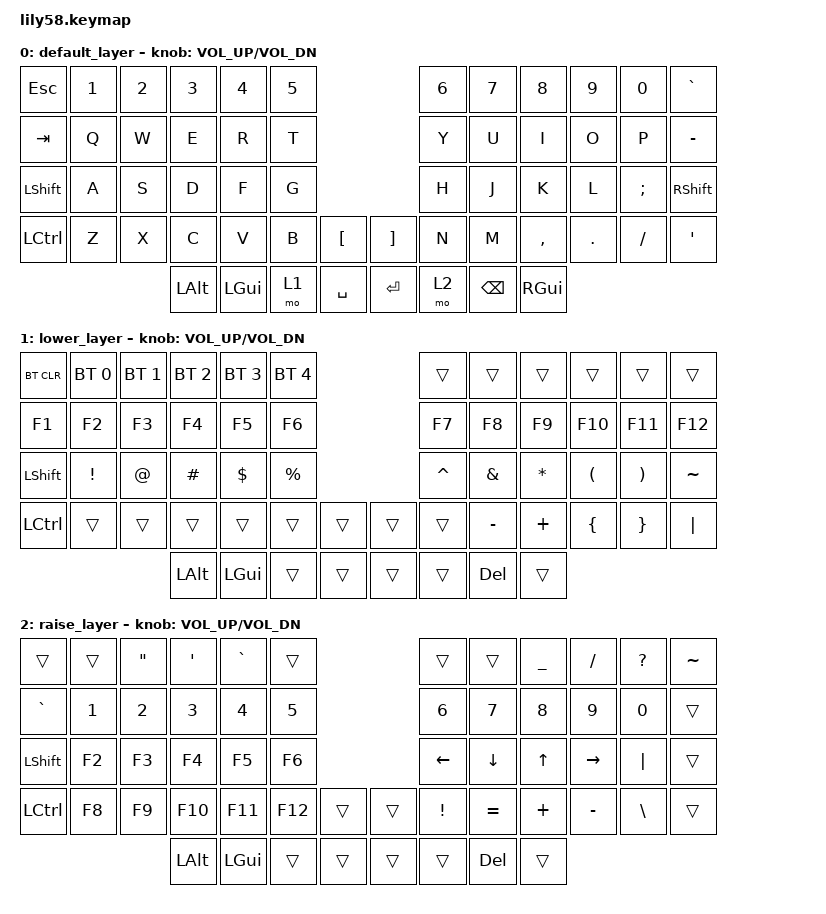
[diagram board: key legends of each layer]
/*
 * Copyright (c) 2020 The ZMK Contributors
 *
 * SPDX-License-Identifier: MIT
 */

#include <behaviors.dtsi>
#include <dt-bindings/zmk/bt.h>
#include <dt-bindings/zmk/keys.h>

/ {
    keymap {
        compatible = "zmk,keymap";

        default_layer {
            // ------------------------------------------------------------------------------------------------------------
            // |  ESC  |  1  |  2  |  3   |  4   |  5   |                   |  6   |  7    |  8    |  9   |   0   |   `   |
            // |  TAB  |  Q  |  W  |  E   |  R   |  T   |                   |  Y   |  U    |  I    |  O   |   P   |   -   |
            // |  CTRL |  A  |  S  |  D   |  F   |  G   |                   |  H   |  J    |  K    |  L   |   ;   |   '   |
            // | SHIFT |  Z  |  X  |  C   |  V   |  B   |   "["  |  |  "]"  |  N   |  M    |  ,    |  .   |   /   | SHIFT |
            //                     | ALT  | GUI  | LOWER|  SPACE |  | ENTER | RAISE| BSPC  | GUI   |

            bindings = <
&kp ESC           &kp N1  &kp N2  &kp N3    &kp N4    &kp N5                         &kp N6  &kp N7    &kp N8     &kp N9   &kp N0    &kp GRAVE
&kp TAB           &kp Q   &kp W   &kp E     &kp R     &kp T                          &kp Y   &kp U     &kp I      &kp O    &kp P     &kp MINUS
&kp LEFT_SHIFT    &kp A   &kp S   &kp D     &kp F     &kp G                          &kp H   &kp J     &kp K      &kp L    &kp SEMI  &kp RIGHT_SHIFT
&kp LEFT_CONTROL  &kp Z   &kp X   &kp C     &kp V     &kp B   &kp LBKT     &kp RBKT  &kp N   &kp M     &kp COMMA  &kp DOT  &kp FSLH  &kp SQT
                                  &kp LALT  &kp LGUI  &mo 1   &kp SPACE    &kp RET   &mo 2   &kp BSPC  &kp RGUI
            >;

            sensor-bindings = <&inc_dec_kp C_VOL_UP C_VOL_DN>;
        };

        lower_layer {
            // ------------------------------------------------------------------------------------------------------------
            // | BTCLR | BT1 | BT2 |  BT3 |  BT4 |  BT5 |                   |      |       |       |      |       |       |
            // |  F1   |  F2 |  F3 |  F4  |  F5  |  F6  |                   |  F7  |  F8   |  F9   |  F10 |  F11  |  F12  |
            // |   `   |  !  |  @  |  #   |  $   |  %   |                   |  ^   |  &    |  *    |  (   |   )   |   ~   |
            // |       |     |     |      |      |      |        |  |       |      |  _    |  +    |  {   |   }   |  "|"  |
            //                     |      |      |      |        |  |       |      |       |       |

            bindings = <
&bt BT_CLR        &bt BT_SEL 0  &bt BT_SEL 1  &bt BT_SEL 2  &bt BT_SEL 3  &bt BT_SEL 4                    &trans     &trans      &trans     &trans    &trans    &trans
&kp F1            &kp F2        &kp F3        &kp F4        &kp F5        &kp F6                          &kp F7     &kp F8      &kp F9     &kp F10   &kp F11   &kp F12
&kp LEFT_SHIFT    &kp EXCL      &kp AT        &kp HASH      &kp DOLLAR    &kp PRCNT                       &kp CARET  &kp AMPS    &kp ASTRK  &kp LPAR  &kp RPAR  &kp TILDE
&kp LEFT_CONTROL  &trans        &trans        &trans        &trans        &trans        &trans    &trans  &trans     &kp MINUS   &kp PLUS   &kp LBRC  &kp RBRC  &kp PIPE
                                              &kp LEFT_ALT  &kp LEFT_GUI  &trans        &trans    &trans  &trans     &kp DELETE  &trans
            >;

            sensor-bindings = <&inc_dec_kp C_VOL_UP C_VOL_DN>;
        };

        raise_layer {
            // ------------------------------------------------------------------------------------------------------------
            // |       |     |     |      |      |      |                   |      |       |       |      |       |       |
            // |   `   |  1  |  2  |  3   |  4   |  5   |                   |  6   |   7   |   8   |  9   |   0   |       |
            // |   F1  |  F2 |  F3 |  F4  |  F5  |  F6  |                   |      |   <-  |   v   |  ^   |  ->   |       |
            // |   F7  |  F8 |  F9 |  F10 |  F11 |  F12 |        |  |       |  +   |   -   |   =   |  [   |   ]   |   \   |
            //                     |      |      |      |        |  |       |      |       |       |

            bindings = <
&trans            &trans  &kp DOUBLE_QUOTES  &kp SINGLE_QUOTE  &kp GRAVE     &trans                     &trans           &trans      &kp UNDERSCORE  &kp SLASH  &kp QUESTION   &kp TILDE
&kp GRAVE         &kp N1  &kp N2             &kp N3            &kp N4        &kp N5                     &kp N6           &kp N7      &kp N8          &kp N9     &kp N0         &trans
&kp LEFT_SHIFT    &kp F2  &kp F3             &kp F4            &kp F5        &kp F6                     &kp LEFT         &kp DOWN    &kp UP          &kp RIGHT  &kp PIPE       &trans
&kp LEFT_CONTROL  &kp F8  &kp F9             &kp F10           &kp F11       &kp F12  &trans    &trans  &kp EXCLAMATION  &kp EQUAL   &kp PLUS        &kp MINUS  &kp BACKSLASH  &trans
                                             &kp LEFT_ALT      &kp LEFT_GUI  &trans   &trans    &trans  &trans           &kp DELETE  &trans
            >;

            sensor-bindings = <&inc_dec_kp C_VOL_UP C_VOL_DN>;
        };
    };
};
